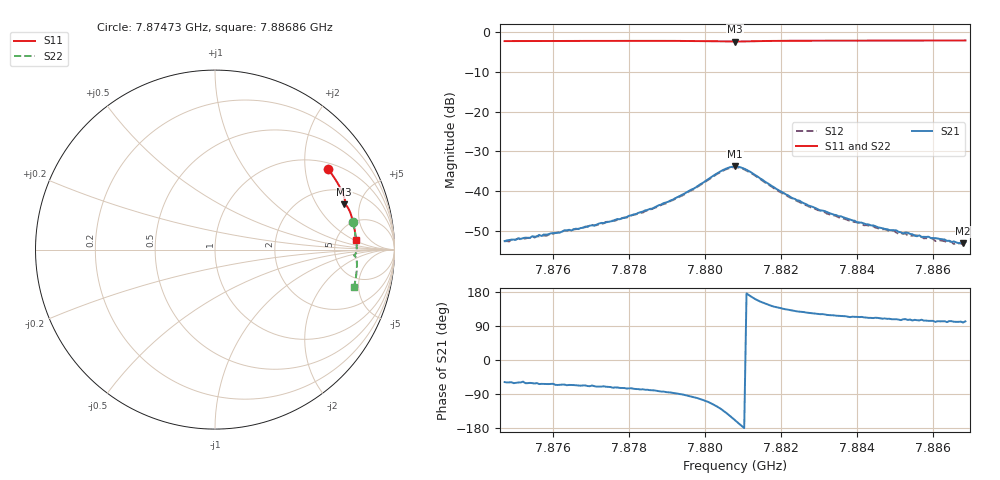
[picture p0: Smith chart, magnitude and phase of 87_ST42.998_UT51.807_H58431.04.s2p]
#  HZ  S  DB  R  50.00
! Rohde & Schwarz Vector Network Analyzer
! Rohde-Schwarz,ZNB20-2Port,1311601062101988,3.16
! Created: UTC 1/12/2023, 6:35:40 PM
! freq[Hz]  db:S11  ang:S11  db:S21  ang:S21  db:S12  ang:S12  db:S22  ang:S22
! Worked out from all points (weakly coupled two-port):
!   201 points, 7.87473 GHz to 7.88686 GHz, reference 50 ohm
!   highest |S21| = -33.81 dB at 7.88079 GHz (marker M1); lowest = -53.2 dB at 7.8868 GHz (marker M2)
!   lowest |S11| = -2.3 dB at 7.88079 GHz (marker M3), VSWR 7.44, Z = 147 + j178 ohm
!   |S11| at or under -10 dB: nowhere
!   |S22| runs from -2.2 to -1.9 dB; largest |S21 - S12| = 0.0014
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7.874727e9  -2.23 35.3  -52.59 -58.3  -52.64 -61.0  -2.14 11.3
7.875394e9  -2.22 33.5  -51.78 -60.4  -51.81 -63.9  -2.13 9.7
7.875455e9  -2.22 33.3  -51.36 -61.0  -51.31 -64.8  -2.12 9.5
7.875515e9  -2.22 33.2  -51.48 -62.0  -51.70 -64.1  -2.12 9.4
7.875819e9  -2.21 32.3  -50.97 -63.6  -51.28 -67.2  -2.11 8.7
7.876789e9  -2.19 29.7  -49.25 -67.2  -49.20 -70.7  -2.09 6.3
7.877881e9  -2.18 26.7  -46.75 -74.0  -46.65 -77.7  -2.06 3.8
7.878791e9  -2.19 24.1  -43.54 -82.4  -43.78 -85.5  -2.05 1.7
7.8797e9  -2.21 21.5  -39.42 -97.9  -39.58 -101.5  -2.07 -0.6
7.880428e9  -2.30 19.6  -34.94 -129.6  -35.10 -132.9  -2.17 -2.2
7.880792e9  -2.35 19.3  -33.81 -158.9  -34.01 -162.4  -2.22 -2.4
7.881156e9  -2.30 18.9  -34.97 171.3  -35.14 168.3  -2.16 -2.6
7.881945e9  -2.18 16.9  -39.80 137.9  -40.07 134.7  -2.04 -4.2
7.882854e9  -2.13 14.3  -44.06 123.3  -44.31 120.0  -1.98 -6.4
7.884007e9  -2.11 11.2  -47.86 113.8  -47.88 110.3  -1.96 -9.0
7.884856e9  -2.09 9.0  -49.82 108.8  -50.12 105.7  -1.94 -10.9
7.885584e9  -2.09 7.1  -51.37 105.0  -51.15 101.6  -1.93 -12.5
7.885766e9  -2.09 6.6  -51.52 103.9  -51.91 101.1  -1.93 -12.9
7.885948e9  -2.09 6.1  -51.83 103.4  -51.80 101.4  -1.93 -13.3
7.886069e9  -2.08 5.8  -51.85 100.6  -52.59 100.1  -1.93 -13.6
7.886797e9  -2.08 3.9  -53.18 99.0  -53.43 96.4  -1.92 -15.1
7.886857e9  -2.08 3.7  -52.89 102.0  -53.87 97.2  -1.92 -15.3
